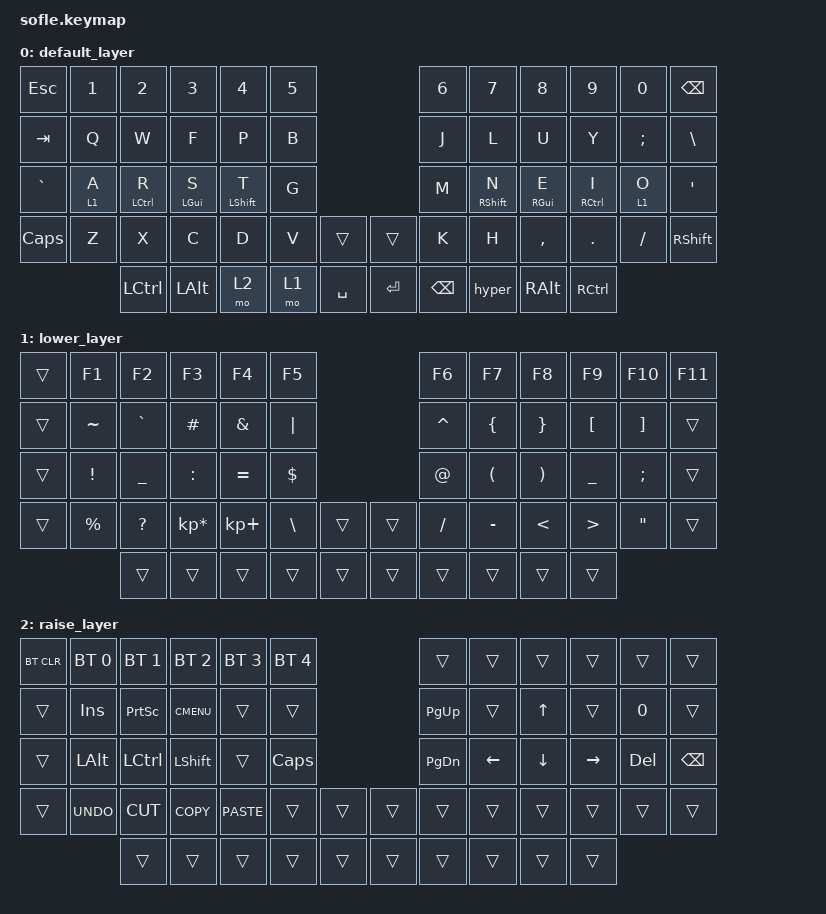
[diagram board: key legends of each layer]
/*
 * Copyright (c) 2020 The ZMK Contributors
 *
 * SPDX-License-Identifier: MIT
 */

#include <behaviors.dtsi>
#include <dt-bindings/zmk/keys.h>
#include <dt-bindings/zmk/bt.h>
#include <dt-bindings/zmk/ext_power.h>

/ {
    macros {
        hyper: hyper {
            compatible = "zmk,behavior-macro";
            #binding-cells = <0>;
            bindings = <
                &macro_press &kp LCTRL &kp LALT &kp LSHIFT &kp LGUI
                &macro_pause_for_release
                &macro_release &kp LGUI &kp LSHIFT &kp LALT &kp LCTRL
            >;
        };
    };
    behaviors {
        hm: homerow_mods {
            compatible = "zmk,behavior-hold-tap";
            #binding-cells = <2>;
            flavor = "balanced";
            tapping-term-ms = <280>;
            quick-tap-ms = <175>;
            require-prior-idle-ms = <150>;
            bindings = <&kp>, <&kp>;
        };
    };

    keymap {
        compatible = "zmk,keymap";

        default_layer { 

        bindings = <
//  | ESC |     1       |   2      |    3     |     4   |   5  |          |   6    |   7      |    8     |    9       |     0      |  BACKSPACE |
    &kp ESC   &kp N1      &kp N2      &kp N3      &kp N4  &kp N5             &kp N6  &kp N7      &kp N8      &kp N9      &kp N0         &kp BSPC
    &kp TAB    &kp Q   &kp W  &kp F    &kp P  &kp B                          &kp J   &kp L         &kp U         &kp Y        &kp SEMI     &kp BSLH
//  |  `     |     A    |    R     |    S     |     T    |  G |            |  M   |     N     |     E    |     I      |    1\O     |    '   |             
    &kp GRAVE  &lt 1 A &hm LCTRL R  &hm LGUI S &hm LSHFT T &kp G             &kp M   &hm RSHFT N &hm RGUI E &hm RCTRL I    &lt 1 O     &kp SQT
    &kp CAPS    &kp Z        &kp X        &kp C        &kp D         &kp V   &trans  &trans   &kp K   &kp H         &kp COMMA     &kp DOT      &kp FSLH     &kp RSHFT
                              &kp LCTRL    &kp LALT    &mo 2         &mo 1   &kp SPACE &kp RET     &kp BSPC   &hyper     &kp RALT      &kp RCTRL
            >;
        };

        lower_layer {
            bindings = <
&trans    &kp F1    &kp F2    &kp F3          &kp F4    &kp F5                         &kp F6    &kp F7     &kp F8          &kp F9    &kp F10   &kp F11
&trans    &kp TILDE &kp GRAVE &kp HASH        &kp AMPS    &kp PIPE                     &kp CARET &kp LBRC   &kp RBRC        &kp LBKT   &kp RBKT  &trans
&trans    &kp EXCL  &kp UNDER &kp COLON       &kp EQUAL  &kp DLLR                      &kp AT    &kp LPAR   &kp RPAR        &kp UNDER   &kp SEMI  &trans
&trans    &kp PRCNT &kp QMARK &kp KP_MULTIPLY &kp KP_PLUS  &kp BSLH    &trans  &trans  &kp FSLH  &kp MINUS  &kp LT          &kp GT      &kp DQT   &trans
                    &trans    &trans      &trans    &trans    &trans   &trans  &trans    &trans   &trans          &trans
            >;
        };

        raise_layer {
            bindings = <
&bt BT_CLR &bt BT_SEL 0 &bt BT_SEL 1 &bt BT_SEL 2 &bt BT_SEL 3 &bt BT_SEL 4             &trans    &trans    &trans   &trans    &trans  &trans
&trans     &kp INS      &kp PSCRN    &kp K_CMENU  &trans       &trans                   &kp PG_UP &trans    &kp UP   &trans    &kp N0  &trans
&trans     &kp LALT     &kp LCTRL    &kp LSHFT    &trans       &kp CLCK                 &kp PG_DN &kp LEFT  &kp DOWN &kp RIGHT &kp DEL &kp BSPC
&trans     &kp K_UNDO   &kp K_CUT    &kp K_COPY   &kp K_PASTE  &trans  &trans   &trans  &trans    &trans    &trans   &trans    &trans  &trans
                        &trans       &trans       &trans       &trans  &trans   &trans  &trans    &trans    &trans   &trans
            >;
        };
    };
};
